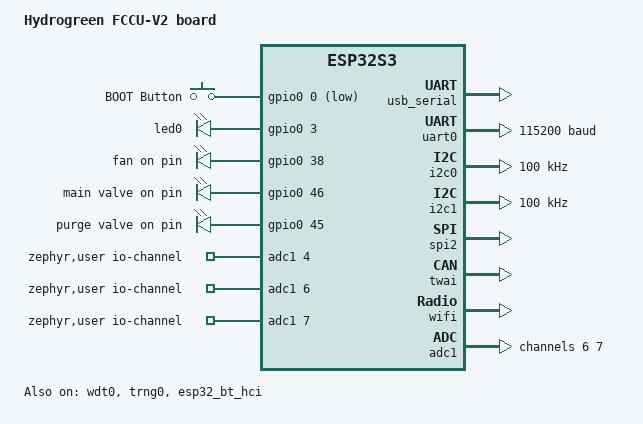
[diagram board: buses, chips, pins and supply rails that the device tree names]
/dts-v1/;

#include <espressif/esp32s3/esp32s3_wroom_n8.dtsi>
#include "fccu_v2-pinctrl.dtsi"
#include <zephyr/dt-bindings/input/input-event-codes.h>
#include <espressif/partitions_0x0_amp.dtsi>


/ {
	model = "Hydrogreen FCCU-V2 board";
	compatible = "hydrogreen,fccu_v2";

	aliases {
		i2c-0 = &i2c0;
		led-0 = &led0;
		watchdog0 = &wdt0;
		uart-0 = &uart0;
		sw0 = &button0;
		can = &twai;
		fan-pin = &fan0;
		main-valve-pin = &main_valve0;
		purge-valve-pin = &purge_valve0;
		adc-1 = &adc1;
	};

	chosen {
		zephyr,sram = &sram1;
		zephyr,console = &uart0;
		zephyr,shell-uart = &uart0;
		zephyr,flash = &flash0;
		zephyr,code-partition = &slot0_partition;
		zephyr,bt-hci = &esp32_bt_hci;
		zephyr,canbus = &twai;
	};

	buttons {
		compatible = "gpio-keys";
		button0: button_0 {
			gpios = <&gpio0 0 (GPIO_PULL_UP | GPIO_ACTIVE_LOW)>;
			label = "BOOT Button";
			zephyr,code = <INPUT_KEY_0>;
		};
	};

	led{
		compatible = "gpio-leds";
		led0:led_0{
			gpios = <&gpio0 3 GPIO_ACTIVE_HIGH>;
		};
	};
	fan_on{
		compatible = "gpio-leds";
		fan0:fan_0{
			label = "fan on pin";
			gpios = <&gpio0 38 GPIO_ACTIVE_HIGH>;
		};
	};
	main_valve_on{
		compatible = "gpio-leds";
		main_valve0:main_valve_0{
			label = "main valve on pin";
			gpios = <&gpio0 46 GPIO_ACTIVE_HIGH>;
		};
	};

	purge_valve_on{
		compatible = "gpio-leds";
		purge_valve0:purge_valve_0{
			label = "purge valve on pin";
			gpios = <&gpio0 45 GPIO_ACTIVE_HIGH>;
		};
	};


	zephyr,user {
		io-channels = <&adc1 4>, <&adc1 6>, <&adc1 7>;
	};
};

&usb_serial {
	status = "okay";
};

&uart0 {
	status = "okay";
	current-speed = <115200>;
	pinctrl-0 = <&uart0_default>;
	pinctrl-names = "default";
};

&gpio0 {
	status = "okay";
};

&gpio1 {
	status = "okay";
};

&i2c0 {
	clock-frequency = <I2C_BITRATE_STANDARD>;
	pinctrl-0 = <&i2c0_default>;
	pinctrl-names = "default";
	status = "okay";

//	ads1115:ads1015@48 {
//		compatible = "ti,ads1015";
//		reg = <0x48>;
//		label = "ADS1015";
//		#io-channel-cells = <1>;
//		#address-cells = <1>;
//		#size-cells = <0>;
//		status = "okay";
//
//		channel0: adc@0 {
//			reg = <0>;
//			zephyr,gain = "ADC_GAIN_1";
//			zephyr,reference = "ADC_REF_VDD_1";
//			zephyr,acquisition-time = <ADC_ACQ_TIME_DEFAULT>;
//			zephyr,resolution = <12>;
//		};
//
//		channel1: adc@1 {
//			reg = <1>;
//			zephyr,gain = "ADC_GAIN_1";
//			zephyr,reference = "ADC_REF_VDD_1";
//			zephyr,acquisition-time = <ADC_ACQ_TIME_DEFAULT>;
//			zephyr,resolution = <12>;
//		};
//
//		channel2: adc@2 {
//			reg = <2>;
//			zephyr,gain = "ADC_GAIN_1";
//			zephyr,reference = "ADC_REF_VDD_1";
//			zephyr,acquisition-time = <ADC_ACQ_TIME_DEFAULT>;
//			zephyr,resolution = <12>;
//		};
//
//		channel3: adc@3 {
//			reg = <3>;
//			zephyr,gain = "ADC_GAIN_1";
//			zephyr,reference = "ADC_REF_VDD_1";
//			zephyr,acquisition-time = <ADC_ACQ_TIME_DEFAULT>;
//			zephyr,resolution = <12>;
//		};
//	};
};

&i2c1 {
	clock-frequency = <I2C_BITRATE_STANDARD>;
	pinctrl-0 = <&i2c1_default>;
	pinctrl-names = "default";
};

&i2s0 {
	pinctrl-0 = <&i2s0_default>;
	pinctrl-names = "default";
	status = "disabled";
};

&i2s1 {
	pinctrl-0 = <&i2s1_default>;
	pinctrl-names = "default";
	status = "disabled";
};

&spi2 {
	#address-cells = <1>;
	#size-cells = <0>;
	status = "okay";
	pinctrl-0 = <&spim2_default>;
	pinctrl-names = "default";
};

&twai {
	pinctrl-0 = <&twai_default>;
	pinctrl-names = "default";
	status = "okay";
};

&timer0 {
	status = "disabled";
};

&timer1 {
	status = "disabled";
};

&timer2 {
	status = "disabled";
};

&timer3 {
	status = "disabled";
};

&wdt0 {
	status = "okay";
};

&trng0 {
	status = "okay";
};

&esp32_bt_hci {
	status = "okay";
};

&wifi {
	status = "okay";
};

&adc1{
	status = "okay";
	unit = <1>;
	channel-count = <8>;
	#io-channel-cells = <1>;
	#address-cells = <1>;
	#size-cells = <0>;

	channel@6 {
		reg = <6>;
		zephyr,gain = "ADC_GAIN_1";
		zephyr,reference = "ADC_REF_INTERNAL";
		zephyr,acquisition-time = <ADC_ACQ_TIME_DEFAULT>;
		zephyr,resolution = <12>;
	};

	channel@7 {
		reg = <7>;
		zephyr,gain = "ADC_GAIN_1";
		zephyr,reference = "ADC_REF_INTERNAL";
		zephyr,acquisition-time = <ADC_ACQ_TIME_DEFAULT>;
		zephyr,resolution = <12>;
	};
};

